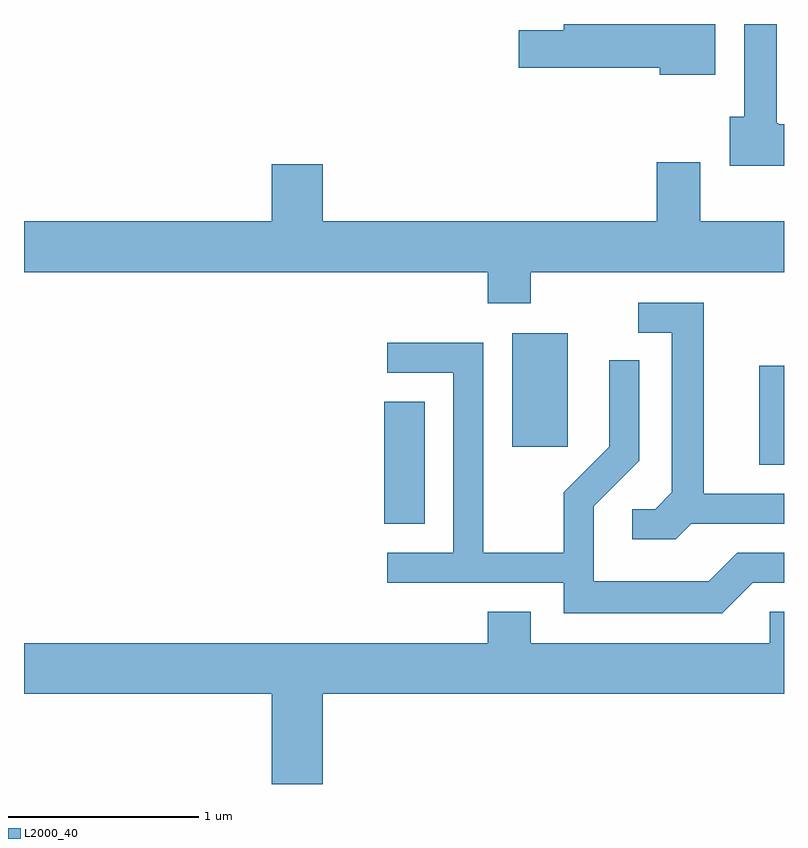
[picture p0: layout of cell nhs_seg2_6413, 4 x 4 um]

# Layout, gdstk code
import gdstk
lib = gdstk.Library(unit=1e-6, precision=1e-09)
def R(c, l, rs):  # rectangles x0, y0, x1, y1
    for r in rs: c.add(gdstk.rectangle(r[:2], r[2:], *l))
def P(c, l, *ps):  # polygons
    for p in ps: c.add(gdstk.Polygon(p, *l))
L2000_40 = (2000, 40)

nhs_seg2_6413 = lib.new_cell('nhs_seg2_6413')
R(nhs_seg2_6413, L2000_40, [(375.506,1089.171,375.719,1089.814), (377.481,1089.481,377.611,1090.004), (376.181,1089.576,376.474,1090.174)])
P(nhs_seg2_6413, L2000_40, [(377.249,1091.802),(376.451,1091.802),(376.451,1091.769),(376.216,1091.769),(376.216,1091.571),(376.956,1091.571),(376.956,1091.536),(377.249,1091.536)],
  [(377.611,1091.274),(377.58,1091.274),(377.58,1091.28),(377.574,1091.28),(377.574,1091.802),(377.401,1091.802),(377.401,1091.314),(377.326,1091.314),(377.326,1091.056),(377.611,1091.056)],
  [(376.279,1090.496),(377.611,1090.496),(377.611,1090.764),(377.169,1090.764),(377.169,1091.074),(376.941,1091.074),(376.941,1090.764),(375.184,1090.764),(375.184,1091.064),(374.916,1091.064),(374.916,1090.764),(373.611,1090.764),(373.611,1090.496),(376.051,1090.496),(376.051,1090.331),(376.279,1090.331)],
  [(377.122,1089.171),(377.611,1089.171),(377.611,1089.329),(377.189,1089.329),(377.189,1090.334),(376.843,1090.334),(376.843,1090.176),(377.021,1090.176),(377.021,1089.337),(376.934,1089.249),(376.813,1089.249),(376.813,1089.091),(377.042,1089.091)],
  [(377.447,1088.861),(377.611,1088.861),(377.611,1089.019),(377.364,1089.019),(377.214,1088.869),(376.609,1088.869),(376.609,1089.264),(376.849,1089.504),(376.849,1090.033),(376.691,1090.033),(376.691,1089.577),(376.451,1089.337),(376.451,1089.019),(376.029,1089.019),(376.029,1090.124),(375.523,1090.124),(375.523,1089.966),(375.871,1089.966),(375.871,1089.019),(375.523,1089.019),(375.523,1088.861),(376.451,1088.861),(376.451,1088.701),(377.287,1088.701)],
  [(375.184,1088.276),(377.611,1088.276),(377.611,1088.709),(377.536,1088.709),(377.536,1088.544),(376.279,1088.544),(376.279,1088.709),(376.051,1088.709),(376.051,1088.544),(373.611,1088.544),(373.611,1088.276),(374.916,1088.276),(374.916,1087.802),(375.184,1087.802)])

lib.write_gds('nhs_seg2_6413.gds')
